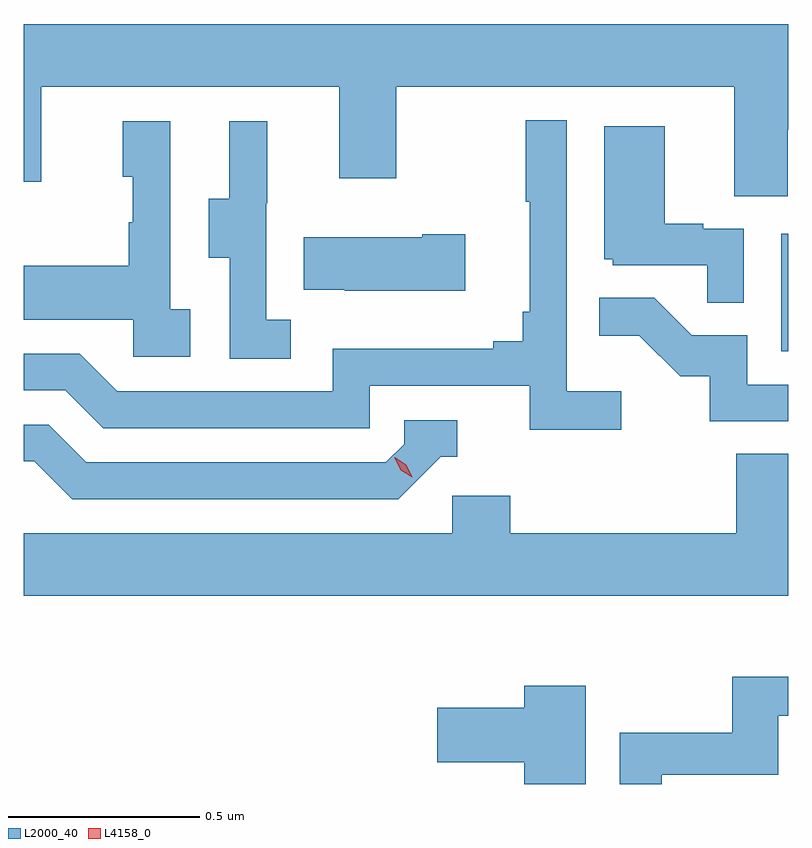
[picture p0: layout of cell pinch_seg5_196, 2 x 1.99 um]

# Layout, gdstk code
import gdstk
lib = gdstk.Library(unit=1e-6, precision=1e-09)
def R(c, l, rs):  # rectangles x0, y0, x1, y1
    for r in rs: c.add(gdstk.rectangle(r[:2], r[2:], *l))
def P(c, l, *ps):  # polygons
    for p in ps: c.add(gdstk.Polygon(p, *l))
L2000_40 = (2000, 40)
L4158_0 = (4158, 0)

pinch_seg5_196 = lib.new_cell('pinch_seg5_196')
R(pinch_seg5_196, L2000_40, [(1002.08,909.348,1002.099,909.655)])
P(pinch_seg5_196, L2000_40, [(1002.097,909.928),(1002.099,909.928),(1002.099,910.204),(1000.099,910.204),(1000.099,909.792),(1000.145,909.792),(1000.145,910.04),(1000.925,910.04),(1000.925,909.801),(1001.073,909.801),(1001.073,910.04),(1001.957,910.04),(1001.957,909.754),(1002.097,909.754)],
  [(1001.662,909.244),(1001.52,909.244),(1001.52,909.952),(1001.412,909.952),(1001.412,909.739),(1001.423,909.739),(1001.423,909.451),(1001.404,909.451),(1001.404,909.374),(1001.327,909.374),(1001.327,909.355),(1000.908,909.355),(1000.908,909.243),(1000.344,909.243),(1000.245,909.342),(1000.099,909.342),(1000.099,909.246),(1000.208,909.246),(1000.307,909.147),(1001.004,909.147),(1001.004,909.258),(1001.423,909.258),(1001.423,909.142),(1001.662,909.142)],
  [(1000.534,909.458),(1000.482,909.458),(1000.482,909.949),(1000.358,909.949),(1000.358,909.804),(1000.384,909.804),(1000.384,909.686),(1000.374,909.686),(1000.374,909.571),(1000.099,909.571),(1000.099,909.431),(1000.386,909.431),(1000.386,909.333),(1000.534,909.333)],
  [(1000.798,909.431),(1000.734,909.431),(1000.734,909.735),(1000.736,909.735),(1000.736,909.949),(1000.637,909.949),(1000.637,909.747),(1000.583,909.747),(1000.583,909.592),(1000.638,909.592),(1000.638,909.328),(1000.798,909.328)],
  [(1001.982,909.669),(1001.876,909.669),(1001.876,909.682),(1001.776,909.682),(1001.776,909.937),(1001.618,909.937),(1001.618,909.588),(1001.64,909.588),(1001.64,909.573),(1001.887,909.573),(1001.887,909.475),(1001.982,909.475)],
  [(1001.254,909.654),(1001.141,909.654),(1001.141,909.646),(1000.831,909.646),(1000.831,909.509),(1000.939,909.509),(1000.939,909.506),(1001.254,909.506)],
  [(1002.099,909.261),(1001.991,909.261),(1001.991,909.39),(1001.847,909.39),(1001.749,909.488),(1001.605,909.488),(1001.605,909.389),(1001.709,909.389),(1001.816,909.282),(1001.893,909.282),(1001.893,909.165),(1002.099,909.165)],
  [(1001.19,909.072),(1001.233,909.072),(1001.233,909.168),(1001.094,909.168),(1001.094,909.105),(1001.046,909.057),(1000.263,909.057),(1000.164,909.156),(1000.099,909.156),(1000.099,909.06),(1000.127,909.06),(1000.226,908.961),(1001.079,908.961)],
  [(1002.099,909.08),(1001.963,909.08),(1001.963,908.872),(1001.372,908.872),(1001.372,908.97),(1001.22,908.97),(1001.22,908.872),(1000.099,908.872),(1000.099,908.708),(1002.099,908.708)],
  [(1001.768,908.24),(1002.073,908.24),(1002.073,908.395),(1002.099,908.395),(1002.099,908.496),(1001.952,908.496),(1001.952,908.35),(1001.658,908.35),(1001.658,908.216),(1001.768,908.216)],
  [(1001.569,908.473),(1001.408,908.473),(1001.408,908.415),(1001.181,908.415),(1001.181,908.273),(1001.408,908.273),(1001.408,908.216),(1001.569,908.216)])
P(pinch_seg5_196, L4158_0, [(1001.116,909.018),(1001.085,909.037),(1001.069,909.07),(1001.069,909.071),(1001.07,909.071),(1001.1,909.051),(1001.116,909.018),(1001.116,909.018)])

lib.write_gds('pinch_seg5_196.gds')
